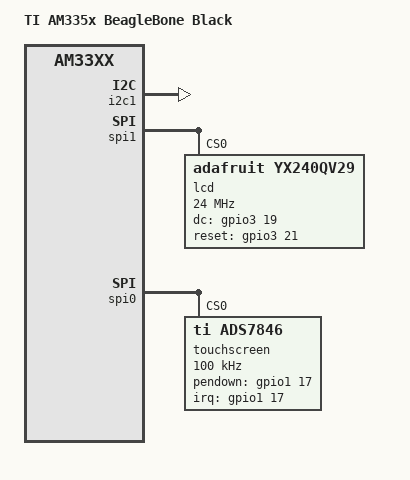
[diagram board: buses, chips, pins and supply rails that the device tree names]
// SPDX-License-Identifier: GPL-2.0-only
/*
 * Copyright (C) 2012 Texas Instruments Incorporated - https://www.ti.com/
 */
/dts-v1/;

#include "am33xx.dtsi"
#include "am335x-bone-common.dtsi"
#include "am335x-boneblack-common.dtsi"
#include "am335x-boneblack-hdmi.dtsi"

/ {
	model = "TI AM335x BeagleBone Black";
	compatible = "ti,am335x-bone-black", "ti,am335x-bone", "ti,am33xx";
};

&cpu0_opp_table {
	/*
	 * All PG 2.0 silicon may not support 1GHz but some of the early
	 * BeagleBone Blacks have PG 2.0 silicon which is guaranteed
	 * to support 1GHz OPP so enable it for PG 2.0 on this board.
	 */
	oppnitro-1000000000 {
		opp-supported-hw = <0x06 0x0100>;
	};
};

&gpio0 {
	gpio-line-names =
		"[mdio_data]",
		"[mdio_clk]",
		"P9_22 [spi0_sclk]",
		"P9_21 [spi0_d0]",
		"P9_18 [spi0_d1]",
		"P9_17 [spi0_cs0]",
		"[mmc0_cd]",
		"P8_42A [ecappwm0]",
		"P8_35 [lcd d12]",
		"P8_33 [lcd d13]",
		"P8_31 [lcd d14]",
		"P8_32 [lcd d15]",
		"P9_20 [i2c2_sda]",
		"P9_19 [i2c2_scl]",
		"P9_26 [uart1_rxd]",
		"P9_24 [uart1_txd]",
		"[rmii1_txd3]",
		"[rmii1_txd2]",
		"[usb0_drvvbus]",
		"[hdmi cec]",
		"P9_41B",
		"[rmii1_txd1]",
		"P8_19 [ehrpwm2a]",
		"P8_13 [ehrpwm2b]",
		"NC",
		"NC",
		"P8_14",
		"P8_17",
		"[rmii1_txd0]",
		"[rmii1_refclk]",
		"P9_11 [uart4_rxd]",
		"P9_13 [uart4_txd]";
};

&gpio1 {
	gpio-line-names =
		"P8_25 [mmc1_dat0]",
		"[mmc1_dat1]",
		"P8_5 [mmc1_dat2]",
		"P8_6 [mmc1_dat3]",
		"P8_23 [mmc1_dat4]",
		"P8_22 [mmc1_dat5]",
		"P8_3 [mmc1_dat6]",
		"P8_4 [mmc1_dat7]",
		"NC",
		"NC",
		"NC",
		"NC",
		"P8_12",
		"P8_11",
		"P8_16",
		"P8_15",
		"P9_15A",
		"P9_23",
		"P9_14 [ehrpwm1a]",
		"P9_16 [ehrpwm1b]",
		"[emmc rst]",
		"[usr0 led]",
		"[usr1 led]",
		"[usr2 led]",
		"[usr3 led]",
		"[hdmi irq]",
		"[usb vbus oc]",
		"[hdmi audio]",
		"P9_12",
		"P8_26",
		"P8_21 [emmc]",
		"P8_20 [emmc]";
};

&gpio2 {
	gpio-line-names =
		"P9_15B",
		"P8_18",
		"P8_7",
		"P8_8",
		"P8_10",
		"P8_9",
		"P8_45 [hdmi]",
		"P8_46 [hdmi]",
		"P8_43 [hdmi]",
		"P8_44 [hdmi]",
		"P8_41 [hdmi]",
		"P8_42 [hdmi]",
		"P8_39 [hdmi]",
		"P8_40 [hdmi]",
		"P8_37 [hdmi]",
		"P8_38 [hdmi]",
		"P8_36 [hdmi]",
		"P8_34 [hdmi]",
		"[rmii1_rxd3]",
		"[rmii1_rxd2]",
		"[rmii1_rxd1]",
		"[rmii1_rxd0]",
		"P8_27 [hdmi]",
		"P8_29 [hdmi]",
		"P8_28 [hdmi]",
		"P8_30 [hdmi]",
		"[mmc0_dat3]",
		"[mmc0_dat2]",
		"[mmc0_dat1]",
		"[mmc0_dat0]",
		"[mmc0_clk]",
		"[mmc0_cmd]";
};

&gpio3 {
	gpio-line-names =
		"[mii col]",
		"[mii crs]",
		"[mii rx err]",
		"[mii tx en]",
		"[mii rx dv]",
		"[i2c0 sda]",
		"[i2c0 scl]",
		"[jtag emu0]",
		"[jtag emu1]",
		"[mii tx clk]",
		"[mii rx clk]",
		"NC",
		"NC",
		"[usb vbus en]",
		"P9_31 [spi1_sclk]",
		"P9_29 [spi1_d0]",
		"P9_30 [spi1_d1]",
		"P9_28 [spi1_cs0]",
		"P9_42B [ecappwm0]",
		"P9_27",
		"P9_41A",
		"P9_25",
		"NC",
		"NC",
		"NC",
		"NC",
		"NC",
		"NC",
		"NC",
		"NC",
		"NC",
		"NC";
};

&am33xx_pinmux {
	i2c1_pins: pinmux_i2c1_pins {
		pinctrl-single,pins = <
			AM33XX_PADCONF(AM335X_PIN_UART1_RXD, PIN_INPUT_PULLUP, MUX_MODE3)	/* uart1_rxd.i2c1_sda */
			AM33XX_PADCONF(AM335X_PIN_UART1_TXD, PIN_INPUT_PULLUP, MUX_MODE3)	/* uart1_txd.i2c1_scl */
		>;
	};
	bb_spi1_pins: pinmux_bb_spi1_pins {
		pinctrl-single,pins = <
			AM33XX_PADCONF(AM335X_PIN_MCASP0_ACLKX, PIN_INPUT_PULLUP, MUX_MODE3)	/* mcasp0_aclkx.spi1_sclk,  INPUT_PULLUP | MODE3,	 */	
			AM33XX_PADCONF(AM335X_PIN_MCASP0_FSX, PIN_INPUT_PULLUP, MUX_MODE3)		/* mcasp0_fsx.spi1_d0,      INPUT_PULLUP | MODE3,	 */		
			AM33XX_PADCONF(AM335X_PIN_MCASP0_AXR0, PIN_OUTPUT_PULLUP, MUX_MODE3)	/* mcasp0_axr0.spi1_d1,    OUTPUT_PULLUP | MODE3,	 */	
			AM33XX_PADCONF(AM335X_PIN_MCASP0_AHCLKR, PIN_OUTPUT_PULLUP, MUX_MODE3)	/* mcasp0_ahclkr.spi1_cs0, OUTPUT_PULLUP | MODE3,	 */		
		>;
	};
	bb_lcd_pins: pinmux_bb_lcd_pins {
		pinctrl-single,pins = <
			AM33XX_PADCONF(AM335X_PIN_MCASP0_FSR, PIN_OUTPUT_PULLUP, MUX_MODE7)		/* gpio, dc,	OUTPUT_PULLUP | MODE07	*/			
			AM33XX_PADCONF(AM335X_PIN_MCASP0_AHCLKX, PIN_OUTPUT_PULLUP, MUX_MODE7)	/* gpio, reset,	OUTPUT_PULLUP | MODE07	*/			
		>;
	};
	bb_spi0_pins: pinmux_bb_spi0_pins {
	pinctrl-single,pins = <
			AM33XX_PADCONF(AM335X_PIN_SPI0_SCLK, PIN_INPUT_PULLUP, MUX_MODE0)	/* spi0_sclk,  INPUT_PULLUP | MODE0, 	P9_22 */	
			AM33XX_PADCONF(AM335X_PIN_SPI0_D0,   PIN_OUTPUT_PULLUP, MUX_MODE0)	/* spi0_d0,    INPUT_PULLUP | MODE0, 	P9_21 */		
			AM33XX_PADCONF(AM335X_PIN_SPI0_D1,   PIN_INPUT_PULLUP, MUX_MODE0)	/* spi0_d1,    OUTPUT_PULLUP | MODE0, 	P9_18 */	
			AM33XX_PADCONF(AM335X_PIN_SPI0_CS0,  PIN_OUTPUT_PULLUP, MUX_MODE0)	/* spi0_cs0,   OUTPUT_PULLUP | MODE0, 	P9_17 */
		>;
	};
	bb_touchscreen_pins: pinmux_bb_touchscreen_pins {
		pinctrl-single,pins = <
			AM33XX_PADCONF(AM335X_PIN_GPMC_A1,  PIN_INPUT_PULLUP, MUX_MODE7)	/* gpmc_a1,   OUTPUT_PULLUP | MODE0, 	P9_23 */
		>;
	};	
};

&i2c1 {
	pinctrl-names = "default";
	pinctrl-0 = <&i2c1_pins>;
	status = "okay";
};
&spi1 {
	#address-cells = <1>;
	#size-cells = <0>;
	status = "okay";
	pinctrl-names = "default";
	pinctrl-0 = <&bb_spi1_pins>;

	lcd@0{
		compatible = "adafruit,yx240qv29";
		reg = <0>;
		pinctrl-names = "default";
		pinctrl-0 = <&bb_lcd_pins>;
		spi-max-frequency = <24000000>;
		rotation = <90>;
		dc-gpios    = <&gpio3 19 0>;   // lcd dc    P9.27 gpio3[19]
		reset-gpios = <&gpio3 21 0>;   // lcd reset P9.25 gpio3[21]
		status = "okay";
	};
};
&spi0 {
	#address-cells = <1>;
	#size-cells = <0>;

	status = "okay";
	pinctrl-names = "default";
	pinctrl-0 = <&bb_spi0_pins>;
	ti,pindir-d0-out-d1-in = <1>;

	touchscreen@0 {
		compatible = "ti,ads7846";
		spi-max-frequency = <100000>;   			
		interrupts = <17 IRQ_TYPE_EDGE_FALLING>;             
		interrupt-parent = <&gpio1>;
		pendown-gpio = <&gpio1 17 0>;      
		reg = <0>;
		#addr-size = <2>;
		#page-size = <32>;
		pinctrl-names = "default";
    	       pinctrl-0 = <&bb_touchscreen_pins>;

		/* driver defaults */
		ti,x-min = /bits/ 16 <0xB0>;
		ti,y-min = /bits/ 16 <0x231>;
		ti,x-max = /bits/ 16 <0xF49>;
		ti,y-max = /bits/ 16 <0xF6B>;
		ti,pressure-min = /bits/ 16 <0>;
		ti,pressure-max = /bits/ 16 <0xFF>;
		ti,x-plate-ohms = /bits/ 16 <0x96>;
		ti,swap_xy = /bits/ 16 <0>;
		ti,keep_vref_on = /bits/ 16 <0>;
		ti,cs = /bits/ 16 <1>;
		linux,wakeup;
	};
};

